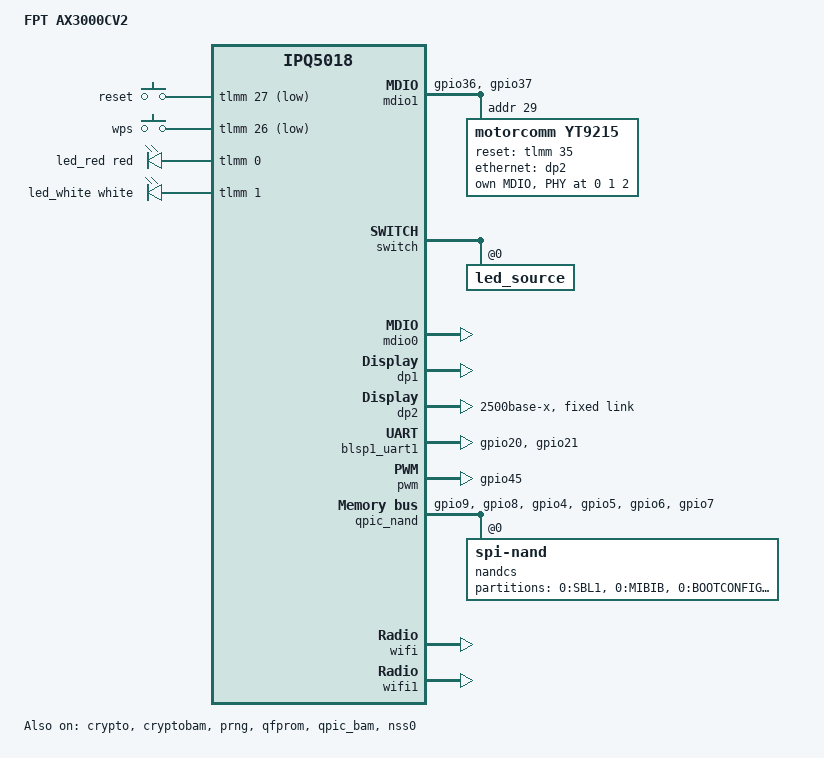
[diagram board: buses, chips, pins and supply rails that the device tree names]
// SPDX-License-Identifier: GPL-2.0-or-later
/**
* (c) 2026 powered by michioxd
*/

/dts-v1/;

#include "ipq5018.dtsi"
#include "ipq5018-ess.dtsi"
#include "ipq5018-qcn6122.dtsi"
#include "ipq5018-nss.dtsi"

#include <dt-bindings/gpio/gpio.h>
#include <dt-bindings/input/input.h>
#include <dt-bindings/leds/common.h>

/ {
	model = "FPT AX3000CV2";
	compatible ="fpt,ax3000cv2", "qcom,ipq5018";
	
	aliases {
		serial0 = &blsp1_uart1;
		
		ethernet0 = &dp1;
		ethernet1 = &dp2;
		
		led-boot = &led_red;
		led-failsafe = &led_red;
		led-running = &led_white;
		led-upgrade = &led_red;
	};
	
	chosen {
		bootargs-append = " root=/dev/ubiblock0_1 coherent_pool=2M";
		stdout-path = "serial0:115200n8";
	};
	
	keys {
		compatible = "gpio-keys";
		pinctrl-0 = <&button_pins>;
		pinctrl-names = "default";
		
		reset {
			label = "reset";
			gpios = <&tlmm 27 GPIO_ACTIVE_LOW>;
			linux,code = <KEY_RESTART>;
			linux,input-type = <EV_KEY>;
			debounce-interval = <60>;
		};
		
		wps {
			label = "wps";
			gpios = <&tlmm 26 GPIO_ACTIVE_LOW>;
			linux,code = <KEY_WPS_BUTTON>;
			linux,input-type = <EV_KEY>;
			debounce-interval = <60>;
		};
	};
	
	leds {
		compatible = "gpio-leds";
		pinctrl-0 = <&leds_pins>;
		pinctrl-names = "default";
		
		led_red: led-red {
			color = <LED_COLOR_ID_RED>;
			gpios = <&tlmm 0 GPIO_ACTIVE_HIGH>;
			function = LED_FUNCTION_POWER;
		};
		
		led_white: led-white {
			color = <LED_COLOR_ID_WHITE>;
			gpios = <&tlmm 1 GPIO_ACTIVE_HIGH>;
			function = LED_FUNCTION_WAN_ONLINE;
		};
	};
	
};

/*
 * step13: use the SoC hardware MDIO1 like the stock firmware
 * (stock: mdio@90000 with cig_clk_div=0xff). Do not pin
 * clock-frequency: mdio-ipq4019 requires an exact match against the
 * AHB rate at probe time and pcnoc is not 100 MHz yet, which made
 * probe fail with -EINVAL. Let the driver derive the divider from the
 * real clock, as the other IPQ5018 boards do.
 */
&mdio1 {
	status = "okay";
	pinctrl-names = "default";
	pinctrl-0 = <&mdio1_pins>;

	yt9215: switch@1d {
			pinctrl-names = "default";
			pinctrl-0 = <&switch_reset_pin>;
			compatible = "motorcomm,yt9215";
			reg = <0x1d>;
			/* The driver pulses this line like the stock firmware
			 * (25 ms asserted, 100 ms after release); the generic
			 * reset-delay-us properties are not used.
			 */
			reset-gpios = <&tlmm 35 GPIO_ACTIVE_HIGH>;
			
			mdio {
				#address-cells = <1>;
				#size-cells = <0>;
				
				sw_phy0: phy@0 {
					reg = <0>;
					motorcomm,auto-sleep-disabled;
				};
				
				sw_phy1: phy@1 {
					reg = <1>;
					motorcomm,auto-sleep-disabled;
				};
				
				sw_phy2: phy@2 {
					reg = <2>;
					motorcomm,auto-sleep-disabled;
				};
			};
			
			ethernet-ports {
				#address-cells = <1>;
				#size-cells = <0>;
				
				ethernet-port@0 {
					reg = <0>;
					label = "lan1";
					phy-mode = "internal";
					phy-handle = <&sw_phy0>;
				};
				
				ethernet-port@1 {
					reg = <1>;
					label = "lan2";
					phy-mode = "internal";
					phy-handle = <&sw_phy1>;
				};
				
				ethernet-port@2 {
					reg = <2>;
					label = "lan3";
					phy-mode = "internal";
					phy-handle = <&sw_phy2>;
				};
				
				ethernet-port@8 {
					reg = <8>;
					/* CPU lane: IPQ5018 UNIPHY in SGMII+ mode
					 * (312.5 MHz) to YT9215S SERDES0 in
					 * 2500BASE-X; the yt921x driver maps
					 * "2500base-x" to SERDES mode 4.
					 */
					phy-mode = "2500base-x";
					ethernet = <&dp2>;
					
					fixed-link {
						speed = <2500>;
						full-duplex;
					};
				};
			};
		};
	};

&xo_clk {
	clock-frequency = <0x16e3600>;
};

/*
 * step14: the board runs xo_clk at 24 MHz, so ref_96mhz_clk is 48 MHz.
 * Fixed-factor needs an explicit divider to yield the 24 MHz xo_board_clk;
 * without it the clock fails to register, GCC parent rates stay 0 and MDIO1
 * gets a bogus divider. Upstream boards use div 4 because their xo_clk is
 * 48 MHz (ref_96mhz = 96 MHz).
 */
&xo_board_clk {
	clock-div = <2>;
	clock-mult = <1>;
};

&sleep_clk {
	clock-frequency = <0x7d00>;
};

&switch {
	status = "okay";
	/* SGMII+ (312.5 MHz) on the forced CPU port. */
	switch_mac_mode = <MAC_MODE_SGMII_PLUS>;

	/*
	 * uniphy1_ahb_rst is deliberately omitted: the AHB reset
	 * clears MODE_CTRL/PHY_MODE/CH0_INPUT_OUTPUT_4 on the
	 * forced CPU port. SSDK's SGMII+ path pulses the SYS/RX/TX
	 * soft reset (uniphy1_soft_rst) and reprograms PHY_MODE
	 * instead, which latches the SGMII+ PCS mode.
	 */
	resets = <&gcc GCC_GMAC0_BCR>,
		 <&gcc GCC_GMAC1_BCR>,
		 <&gcc GCC_UNIPHY_BCR>,
		 <&gcc GCC_UNIPHY_SOFT_RESET>;
	reset-names = "gmac0_bcr_rst",
		      "gmac1_bcr_rst",
		      "uniphy_bcr_rst",
		      "uniphy1_soft_rst";

	qcom,port_phyinfo {
		port@0 {
			port_id = <1>;
			mdiobus = <&mdio0>;
			phy_address = <7>;
		};
		
		port@1 {
			port_id = <2>;
			mdiobus = <&mdio1>;
			/* 2500 selects the 312.5 MHz GMAC1 clock that the
			 * SGMII+ UNIPHY parent provides; 1000 would need
			 * 125 MHz, which this parent cannot divide to.
			 */
			forced-speed = <2500>;
			forced-duplex = <1>;
		};
	};
	
	led_source@0 {
		source = <0x00>;
		mode = "normal";
		speed = "all";
		blink_en = "enable";
		active = "high";
	};
};

&mdio0 {
	status = "okay";
};

&dp1 {
	status = "okay";
	label = "wan";
	nvmem-cells = <&macaddr_appsblenv_ethaddr 0>;
	nvmem-cell-names = "mac-address";
};

&dp2 {
	status = "okay";
	label = "lan";
	phy-mode = "2500base-x";
	nvmem-cells = <&macaddr_appsblenv_ethaddr 1>;
	nvmem-cell-names = "mac-address";
	
	fixed-link {
		speed = <2500>;
		full-duplex;
	};
};

&blsp1_uart1 {
	status = "okay";
	pinctrl-0 = <&uart_pins>;
	pinctrl-names = "default";
};

&pwm {
	pinctrl-0 = <&pwm_pins>;
	pinctrl-names = "default";
	#pwm-cells = <2>;
	status = "okay";
};

&crypto {
	status = "okay";
};

&cryptobam {
	status = "okay";
};

&prng {
	status = "okay";
};

&qfprom {
	status = "okay";
};

&qpic_bam {
	status = "okay";
};

&qpic_nand {
	status = "okay";
	pinctrl-0 = <&qpic_pins>;
	pinctrl-names = "default";
	
	nandcs@0 {
		compatible = "spi-nand";
		reg = <0>;
		nand-ecc-engine = <&qpic_nand>;
		nand-ecc-strength = <8>;
		nand-ecc-step-size = <512>;
		nand-bus-width = <8>;
		
		partitions {
			compatible = "fixed-partitions";
			#address-cells = <1>;
			#size-cells = <1>;
			
			partition@0 {
				label = "0:SBL1";
				reg = <0x0 0x80000>;
				read-only;
			};
			
			partition@80000 {
				label = "0:MIBIB";
				reg = <0x80000 0x80000>;
				read-only;
			};
			
			partition@100000 {
				label = "0:BOOTCONFIG";
				reg = <0x100000 0x40000>;
				read-only;
			};
			
			partition@140000 {
				label = "0:BOOTCONFIG1";
				reg = <0x140000 0x40000>;
				read-only;
			};
			
			partition@180000 {
				label = "0:QSEE";
				reg = <0x180000 0x100000>;
				read-only;
			};
			
			partition@280000 {
				label = "0:QSEE_1";
				reg = <0x280000 0x100000>;
				read-only;
			};
			
			partition@380000 {
				label = "0:DEVCFG";
				reg = <0x380000 0x40000>;
				read-only;
			};
			
			partition@3c0000 {
				label = "0:DEVCFG_1";
				reg = <0x3c0000 0x40000>;
				read-only;
			};
			
			partition@400000 {
				label = "0:CDT";
				reg = <0x400000 0x40000>;
				read-only;
			};
			
			partition@440000 {
				label = "0:CDT_1";
				reg = <0x440000 0x40000>;
				read-only;
			};
			
			partition@480000 {
				label = "0:APPSBLENV";
				reg = <0x480000 0x80000>;
				
				nvmem-layout {
					compatible = "u-boot,env";
					
					macaddr_appsblenv_ethaddr: ethaddr {
						#nvmem-cell-cells = <1>;
					};
				};
			};
			
			partition@500000 {
				label = "0:APPSBL";
				reg = <0x500000 0x140000>;
				read-only;
			};
			
			partition@640000 {
				label = "0:APPSBL_1";
				reg = <0x640000 0x140000>;
				read-only;
			};
			
			partition@780000 {
				label = "0:ART";
				reg = <0x780000 0x100000>;
				read-only;
			};
			
			partition@880000 {
				label = "0:TRAINING";
				reg = <0x880000 0x80000>;
				read-only;
			};
			
			partition@900000 {
				label = "APPSBLENV_1";
				reg = <0x900000 0x80000>;
				read-only;
			};
			
			partition@980000 {
				label = "ART_1";
				reg = <0x980000 0x100000>;
				read-only;
			};
			
			partition@a80000 {
				label = "TRAINING_1";
				reg = <0xa80000 0x80000>;
				read-only;
			};
			
			partition@b00000 {
				label = "cert";
				reg = <0xb00000 0x100000>;
				read-only;
			};
			
			partition@c00000 {
				label = "cert_1";
				reg = <0xc00000 0x100000>;
				read-only;
			};
			
			partition@d00000 {
				label = "rootfs";
				reg = <0xd00000 0x5000000>;
			};
		};
	};
};

&tlmm {
	switch_reset_pin: switch-reset-pin {
		pins = "gpio35";
		function = "gpio";
		drive-strength = <8>;
		bias-disable;
	};
	
	mdio1_pins: mdio-state {
		mdc-pins {
			pins = "gpio36";
			function = "mdc";
			drive-strength = <8>;
			bias-pull-up;
		};
		
		mdio-pins {
			pins = "gpio37";
			function = "mdio";
			drive-strength = <8>;
			bias-pull-up;
		};
	};
	
	leds_pins: leds-pins {
		pins = "gpio0", "gpio1";
		function = "gpio";
		drive-strength = <8>;
		bias-pull-down;
	};
	
	button_pins: button-pins {
		pins = "gpio27", "gpio26";
		function = "gpio";
		drive-strength = <8>;
		bias-pull-up;
	};
	
	qpic_pins: qpic-state {
		clock-pins {
			pins = "gpio9";
			function = "qspi_clk";
			drive-strength = <8>;
			bias-disable;
		};
		
		cs-pins {
			pins = "gpio8";
			function = "qspi_cs";
			drive-strength = <8>;
			bias-disable;
		};
		
		data-pins {
			pins = "gpio4", "gpio5", "gpio6", "gpio7";
			function = "qspi_data";
			drive-strength = <8>;
			bias-disable;
		};
	};
	
	uart_pins: uart0-state {
		pins = "gpio20","gpio21";
		function = "blsp0_uart0";
		bias-disable;
	};
	
	pwm_pins: pwm_pinmux {
		// mux_1 {
		// 	pins = "gpio0";
		// 	function = "pwm10";
		// 	drive-strength = <8>;
		// };
		
		// mux_2 {
		// 	pins = "gpio1";
		// 	function = "pwm20";
		// 	drive-strength = <8>;
		// };
		
		mux_3 {
			pins = "gpio45";
			function = "pwm3";
			drive-strength = <8>;
		};
	};
};

&nss0 {
	status = "okay";
	/* Native NSS physical interface 0 is dp1; dp2 stays host-owned. */
	qcom,physical-interface-mask = <0x1>;
};

&q6v5_wcss {
	boot-args = <0x01 0x04 0x03 0x0f 0x00 0x00 0x02 0x04 0x02 0x12 0x00 0x00>;
};

&wifi {
	status = "okay";
	
	qcom,rproc = <&q6_wcss_pd1>;
	qcom,userpd-subsys-name = "q6v5_wcss_userpd1";
	qcom,ath11k-calibration-variant = "FPT-AX3000CV2";
	qcom,ath11k-fw-memory-mode = <2>;
	qcom,bdf-addr = <0x4c400000>;
	nss-radio-priority = <0>;
};

&wifi1 {
	status = "okay";
	
	qcom,rproc = <&q6_wcss_pd2>;
	qcom,ath11k-fw-memory-mode = <2>;
	qcom,ath11k-calibration-variant = "FPT-AX3000CV2";
	qcom,userpd-subsys-name = "q6v5_wcss_userpd2";
	qcom,bdf-addr = <0x4d100000>;
	qcom,m3-dump-addr = <0x4df00000>;
};
